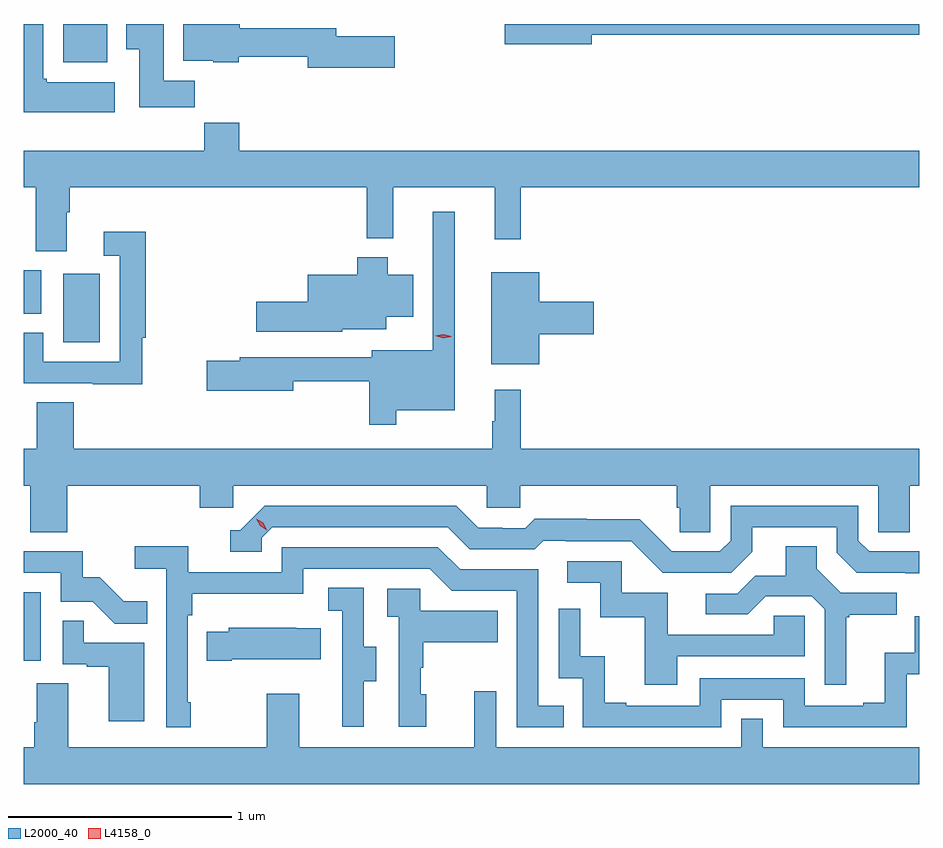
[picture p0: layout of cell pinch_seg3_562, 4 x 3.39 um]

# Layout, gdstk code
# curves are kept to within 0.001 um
import gdstk
lib = gdstk.Library(unit=1e-6, precision=1e-09)
def R(c, l, rs):  # rectangles x0, y0, x1, y1
    for r in rs: c.add(gdstk.rectangle(r[:2], r[2:], *l))
def P(c, l, *ps):  # polygons
    for p in ps: c.add(gdstk.Polygon(p, *l))
L2000_40 = (2000, 40)
L4158_0 = (4158, 0)

pinch_seg3_562 = lib.new_cell('pinch_seg3_562')
R(pinch_seg3_562, L2000_40, [(1090.481,686.814,1090.558,687.121), (1090.658,688.236,1090.822,688.543), (1090.481,688.363,1090.56,688.557), (1090.658,689.486,1090.855,689.657)])
P(pinch_seg3_562, L2000_40, [(1092.139,689.603),(1091.878,689.603),(1091.878,689.639),(1091.446,689.639),(1091.446,689.657),(1091.195,689.657),(1091.195,689.492),(1091.328,689.492),(1091.328,689.486),(1091.442,689.486),(1091.442,689.51),(1091.75,689.51),(1091.75,689.461),(1092.139,689.461)],
  [(1091.246,689.404),(1091.107,689.404),(1091.107,689.657),(1090.94,689.657),(1090.94,689.545),(1090.997,689.545),(1090.997,689.286),(1091.246,689.286)],
  [(1093.018,689.608),(1094.481,689.608),(1094.481,689.657),(1092.63,689.657),(1092.63,689.566),(1093.018,689.566)],
  [(1090.888,689.398),(1090.584,689.398),(1090.584,689.412),(1090.57,689.412),(1090.57,689.657),(1090.481,689.657),(1090.481,689.264),(1090.888,689.264)],
  [(1090.675,688.816),(1090.688,688.816),(1090.688,688.928),(1092.013,688.928),(1092.013,688.7),(1092.131,688.7),(1092.131,688.928),(1092.584,688.928),(1092.584,688.695),(1092.701,688.695),(1092.701,688.928),(1094.481,688.928),(1094.481,689.092),(1091.444,689.092),(1091.444,689.216),(1091.287,689.216),(1091.287,689.092),(1090.481,689.092),(1090.481,688.928),(1090.535,688.928),(1090.535,688.642),(1090.675,688.642)],
  [(1092.145,687.932),(1092.406,687.932),(1092.406,688.819),(1092.309,688.819),(1092.309,688.201),(1092.035,688.201),(1092.035,688.17),(1091.447,688.17),(1091.447,688.154),(1091.298,688.154),(1091.298,688.019),(1091.686,688.019),(1091.686,688.062),(1092.024,688.062),(1092.024,687.867),(1092.145,687.867)],
  [(1091.012,688.256),(1091.027,688.256),(1091.027,688.729),(1090.839,688.729),(1090.839,688.623),(1090.911,688.623),(1090.911,688.149),(1090.569,688.149),(1090.569,688.278),(1090.481,688.278),(1090.481,688.053),(1090.789,688.053),(1090.789,688.048),(1091.012,688.048)],
  [(1091.904,688.295),(1092.1,688.295),(1092.1,688.349),(1092.22,688.349),(1092.22,688.537),(1092.106,688.537),(1092.106,688.615),(1091.972,688.615),(1091.972,688.537),(1091.75,688.537),(1091.75,688.418),(1091.52,688.418),(1091.52,688.283),(1091.904,688.283)],
  [(1092.784,688.271),(1093.027,688.271),(1093.027,688.418),(1092.784,688.418),(1092.784,688.549),(1092.569,688.549),(1092.569,688.139),(1092.784,688.139)],
  [(1090.676,687.596),(1091.267,687.596),(1091.267,687.498),(1091.418,687.498),(1091.418,687.596),(1092.549,687.596),(1092.549,687.498),(1092.699,687.498),(1092.699,687.596),(1093.397,687.596),(1093.397,687.498),(1093.411,687.498),(1093.411,687.388),(1093.548,687.388),(1093.548,687.596),(1094.298,687.596),(1094.298,687.388),(1094.437,687.388),(1094.437,687.596),(1094.481,687.596),(1094.481,687.76),(1092.701,687.76),(1092.701,688.024),(1092.584,688.024),(1092.584,687.884),(1092.573,687.884),(1092.573,687.76),(1090.706,687.76),(1090.706,687.968),(1090.541,687.968),(1090.541,687.76),(1090.481,687.76),(1090.481,687.596),(1090.511,687.596),(1090.511,687.388),(1090.676,687.388)],
  [(1094.481,687.303),(1094.256,687.303),(1094.208,687.351),(1094.208,687.507),(1093.638,687.507),(1093.638,687.351),(1093.59,687.303),(1093.374,687.303),(1093.232,687.445),(1092.996,687.445),(1092.996,687.448),(1092.763,687.448),(1092.721,687.405),(1092.618,687.405),(1092.618,687.408),(1092.511,687.408),(1092.412,687.507),(1091.559,687.507),(1091.448,687.396),(1091.405,687.396),(1091.405,687.3),(1091.544,687.3),(1091.544,687.363),(1091.592,687.411),(1092.375,687.411),(1092.474,687.312),(1092.763,687.312),(1092.802,687.351),(1092.901,687.351),(1092.901,687.348),(1093.194,687.348),(1093.335,687.207),(1093.641,687.207),(1093.735,687.301),(1093.735,687.411),(1094.112,687.411),(1094.112,687.297),(1094.202,687.207),(1094.481,687.206)],
  [(1094.155,687.009),(1094.167,687.009),(1094.167,687.02),(1094.38,687.02),(1094.38,687.117),(1094.13,687.117),(1094.023,687.224),(1094.023,687.326),(1093.883,687.326),(1093.883,687.194),(1093.748,687.194),(1093.668,687.114),(1093.527,687.114),(1093.527,687.021),(1093.714,687.021),(1093.795,687.102),(1094.001,687.102),(1094.058,687.045),(1094.058,686.706),(1094.155,686.706)],
  [(1091.227,686.629),(1091.214,686.629),(1091.214,687.017),(1091.234,687.017),(1091.234,687.113),(1091.73,687.113),(1091.73,687.225),(1092.294,687.225),(1092.393,687.126),(1092.684,687.126),(1092.684,686.517),(1092.893,686.517),(1092.893,686.613),(1092.78,686.613),(1092.78,687.222),(1092.43,687.222),(1092.331,687.321),(1091.634,687.321),(1091.634,687.21),(1091.216,687.21),(1091.216,687.326),(1090.977,687.326),(1090.977,687.224),(1091.118,687.224),(1091.118,686.517),(1091.227,686.517)],
  [(1091.033,687.079),(1090.929,687.079),(1090.822,687.186),(1090.746,687.186),(1090.746,687.303),(1090.481,687.303),(1090.481,687.207),(1090.647,687.207),(1090.647,687.078),(1090.791,687.078),(1090.889,686.98),(1091.033,686.98)],
  [(1093.399,686.835),(1093.968,686.835),(1093.968,687.015),(1093.831,687.015),(1093.831,686.931),(1093.357,686.931),(1093.357,687.117),(1093.152,687.117),(1093.152,687.258),(1092.909,687.258),(1092.909,687.162),(1093.056,687.162),(1093.056,687.009),(1093.255,687.009),(1093.255,686.706),(1093.399,686.706)],
  [(1092.001,686.722),(1092.055,686.722),(1092.055,686.877),(1092,686.877),(1092,687.14),(1091.841,687.14),(1091.841,687.037),(1091.904,687.037),(1091.904,686.733),(1091.903,686.733),(1091.903,686.52),(1092.001,686.52)],
  [(1092.28,686.664),(1092.255,686.664),(1092.255,686.783),(1092.265,686.783),(1092.265,686.897),(1092.599,686.897),(1092.599,687.037),(1092.252,687.037),(1092.252,687.135),(1092.105,687.135),(1092.105,687.011),(1092.156,687.011),(1092.156,686.52),(1092.28,686.52)],
  [(1093.596,686.64),(1093.872,686.64),(1093.872,686.517),(1094.424,686.517),(1094.424,686.753),(1094.481,686.753),(1094.481,687.012),(1094.46,687.012),(1094.46,686.851),(1094.327,686.851),(1094.327,686.626),(1094.231,686.626),(1094.231,686.613),(1093.968,686.613),(1093.968,686.736),(1093.5,686.736),(1093.5,686.613),(1093.171,686.613),(1093.171,686.626),(1093.076,686.626),(1093.076,686.834),(1092.966,686.834),(1092.966,687.046),(1092.87,687.046),(1092.87,686.736),(1092.978,686.736),(1092.978,686.517),(1093.596,686.517)],
  [(1091.02,686.895),(1090.751,686.895),(1090.751,686.993),(1090.656,686.993),(1090.656,686.799),(1090.763,686.799),(1090.763,686.787),(1090.862,686.787),(1090.862,686.544),(1091.02,686.544)],
  [(1091.41,686.822),(1091.807,686.822),(1091.807,686.959),(1091.699,686.959),(1091.699,686.962),(1091.397,686.962),(1091.397,686.944),(1091.299,686.944),(1091.299,686.815),(1091.41,686.815)],
  [(1094.481,686.428),(1093.782,686.428),(1093.782,686.555),(1093.686,686.555),(1093.686,686.428),(1092.591,686.428),(1092.591,686.677),(1092.494,686.677),(1092.494,686.428),(1091.713,686.428),(1091.713,686.668),(1091.566,686.668),(1091.566,686.428),(1090.681,686.428),(1090.681,686.714),(1090.541,686.714),(1090.541,686.54),(1090.529,686.54),(1090.529,686.428),(1090.481,686.428),(1090.481,686.264),(1094.481,686.264)])
P(pinch_seg3_562, L4158_0, [(1092.354,688.253),(1092.32,688.265),(1092.319,688.265),(1092.32,688.266),(1092.355,688.273),(1092.39,688.262),(1092.39,688.261),(1092.39,688.261)],
  [(1091.568,687.396),(1091.537,687.416),(1091.521,687.449),(1091.521,687.449),(1091.521,687.449),(1091.552,687.43),(1091.568,687.397),(1091.568,687.396)])

lib.write_gds('pinch_seg3_562.gds')
